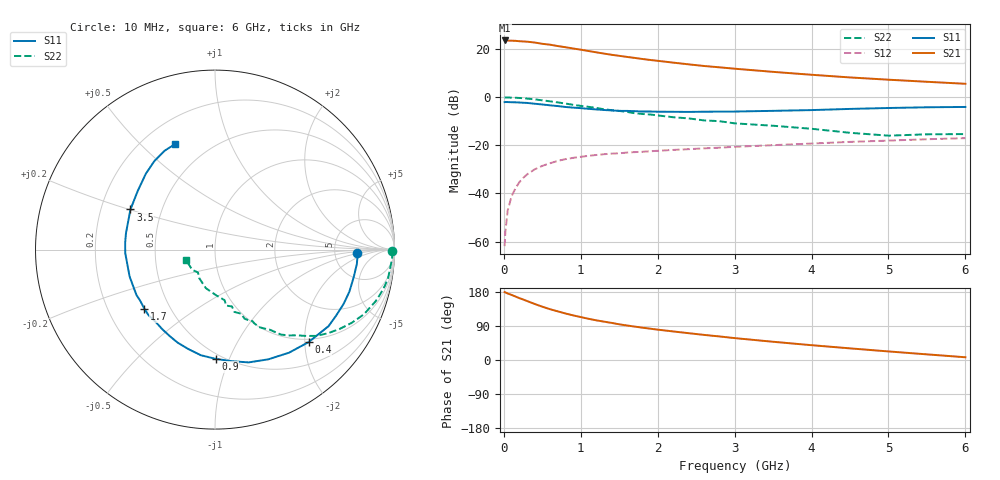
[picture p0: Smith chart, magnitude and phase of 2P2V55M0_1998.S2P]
! SIEMENS Discrete & RF Semiconductors
! BFP420
! Si NPN RF SIEGET Grounded Emitter Transistor in SOT343
! VCE = 2.5 V  IC = 5 mA
! Common Emitter S-Parameters:  February  1998
# GHz  S  MA  R  50
!  f  S11  S21  S12  S22
! GHz  MAG  ANG  MAG  ANG  MAG  ANG  MAG  ANG
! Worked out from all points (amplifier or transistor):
!   36 points, 10 MHz to 6 GHz, reference 50 ohm
!   highest |S21| = 23.6 dB at 10 MHz (marker M1)
!   |S21| within 3 dB of that: start of sweep to 835.8 MHz
!   unconditionally stable (mu >= 1): 3.192 GHz to end of sweep
!   at 250 MHz: K = 0.09, MSG = 28.4 dB, |S12| = -33.6 dB
!   at 1.4 GHz: K = 0.54, MSG = 20.6 dB, |S12| = -23.5 dB
!   at 6 GHz: K = 1.19, MAG = 8.7 dB, |S12| = -17.0 dB
!   lowest NFmin = 0.87 dB at 450 MHz
!   S11 on the Smith chart (normalised r, x): 10 MHz: 8.57, -0.77; 400 MHz: 0.93, -2.08; 900 MHz: 0.46, -0.89; 1.7 GHz: 0.36, -0.32; 3.5 GHz: 0.33, +0.20; 6 GHz: 0.33, +0.64
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0.01  0.7926 -1.2  15.17 179.1  0.0008 79.4  0.9882 -0.6
0.02  0.7951 -2.5  14.99 178.5  0.0016 76.7  0.9884 -1.1
0.05  0.7943 -5.8  15.06 175.5  0.0044 81.8  0.9878 -3.0
0.1  0.7879 -11.3  15.01 171.8  0.0087 84.6  0.981 -6.1
0.15  0.7845 -17.4  14.91 167.6  0.0126 80.1  0.9774 -9.3
0.2  0.778 -22.8  14.63 163.4  0.017 78.3  0.9674 -12.1
0.3  0.763 -34.0  14.32 155.8  0.0247 72.1  0.9396 -17.9
0.4  0.7331 -44.7  13.75 147.9  0.0316 67.7  0.9046 -23.5
0.5  0.7072 -54.3  12.93 140.7  0.0374 63.4  0.8631 -28.3
0.6  0.6796 -64.1  12.4 134.1  0.0424 59.0  0.8221 -32.6
0.8  0.6278 -81.8  10.98 122.8  0.0516 52.6  0.7404 -40.5
0.9  0.6087 -89.7  10.33 117.8  0.0549 49.8  0.6961 -43.7
1.1  0.5739 -104.9  9.152 108.8  0.0604 45.2  0.6327 -49.1
1.2  0.5582 -112.0  8.6 104.7  0.063 43.5  0.6003 -52.1
1.4  0.5318 -123.6  7.642 97.9  0.0672 40.7  0.5396 -55.7
1.7  0.5134 -140.1  6.579 88.2  0.0723 37.8  0.4663 -61.9
2.2  0.4988 -162.5  5.252 75.4  0.0803 34.8  0.3842 -68.1
2.8  0.5019 175.7  4.194 62.2  0.0893 32.0  0.3182 -78.7
3.5  0.5215 154.6  3.373 48.1  0.1009 28.6  0.2554 -88.3
4.5  0.5719 132.4  2.582 30.7  0.118 23.7  0.1823 -118.6
5.5  0.6184 117.0  2.098 14.9  0.134 18.1  0.1695 -138.6
6  0.6286 110.6  1.906 7.2  0.1411 14.5  0.1714 -159.7
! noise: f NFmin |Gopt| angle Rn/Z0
0.45  0.87  0.19  13  0.16
0.9  0.88  0.19  31  0.15
1.8  1.05  0.1  92  0.12
2.4  1.13  0.14  121  0.12
3  1.26  0.16  155  0.12
4  1.42  0.31  -145  0.13
